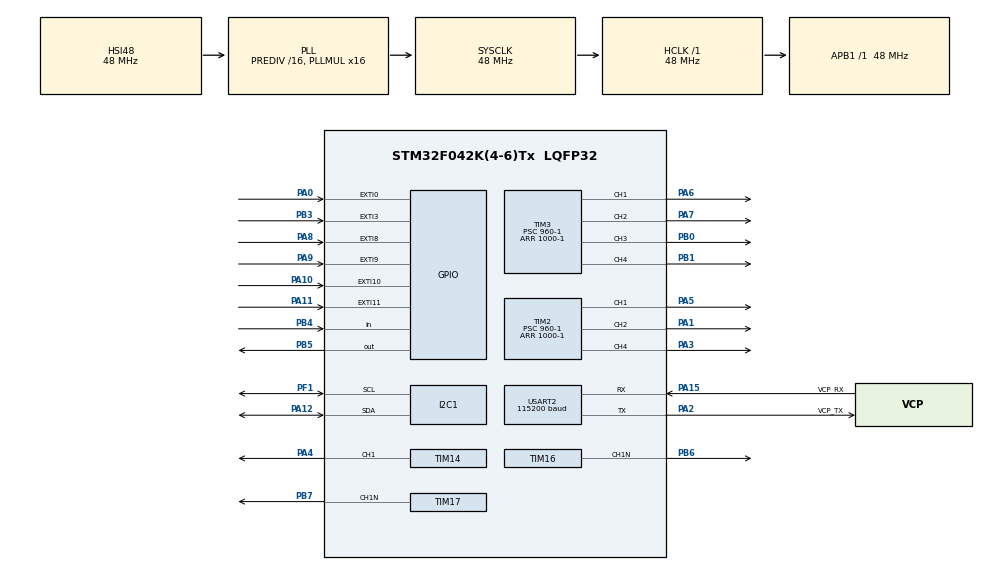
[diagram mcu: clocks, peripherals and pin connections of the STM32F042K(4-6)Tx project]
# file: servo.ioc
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Dma.Request0=USART2_RX
Dma.USART2_RX.0.Direction=DMA_PERIPH_TO_MEMORY
Dma.USART2_RX.0.Instance=DMA1_Channel5
Dma.USART2_RX.0.MemDataAlignment=DMA_MDATAALIGN_BYTE
Dma.USART2_RX.0.MemInc=DMA_MINC_ENABLE
Dma.USART2_RX.0.Mode=DMA_NORMAL
Dma.USART2_RX.0.PeriphDataAlignment=DMA_PDATAALIGN_BYTE
Dma.USART2_RX.0.PeriphInc=DMA_PINC_DISABLE
Dma.USART2_RX.0.Priority=DMA_PRIORITY_LOW
Mcu.Family=STM32F0
Mcu.Name=STM32F042K(4-6)Tx
Mcu.Package=LQFP32
NVIC.DMA1_Channel4_5_IRQn=true\:0\:0\:false\:false\:true\:false\:true
NVIC.EXTI0_1_IRQn=true\:0\:0\:false\:false\:true\:true\:true
NVIC.EXTI2_3_IRQn=true\:0\:0\:false\:false\:true\:true\:true
NVIC.EXTI4_15_IRQn=true\:0\:0\:false\:false\:true\:true\:true
NVIC.USART2_IRQn=true\:0\:0\:false\:false\:true\:true\:true
PA0.Signal=GPXTI0
PA1.Signal=S_TIM2_CH2
PA10.Signal=GPXTI10
PA11.Signal=GPXTI11
PA12.Mode=I2C
PA12.Signal=I2C1_SDA
PA13.GPIO_Label=SWDIO
PA13.Mode=Serial_Wire
PA13.Signal=SYS_SWDIO
PA14.GPIO_Label=SWCLK
PA14.Mode=Serial_Wire
PA14.Signal=SYS_SWCLK
PA15.GPIO_Label=VCP_RX
PA15.Mode=Asynchronous
PA15.Signal=USART2_RX
PA2.GPIO_Label=VCP_TX
PA2.Mode=Asynchronous
PA2.Signal=USART2_TX
PA3.Signal=S_TIM2_CH4
PA4.Signal=S_TIM14_CH1
PA5.Signal=S_TIM2_CH1_ETR
PA6.Signal=S_TIM3_CH1
PA7.Signal=S_TIM3_CH2
PA8.Signal=GPXTI8
PA9.Signal=GPXTI9
PB0.Signal=S_TIM3_CH3
PB1.Signal=S_TIM3_CH4
PB3.GPIO_ModeDefaultEXTI=GPIO_MODE_IT_FALLING
PB3.Signal=GPXTI3
PB4.Signal=GPIO_Input
PB5.Signal=GPIO_Output
PB6.Mode=PWM Generation1 CH1N
PB6.Signal=TIM16_CH1N
PB7.Mode=PWM Generation1 CH1N
PB7.Signal=TIM17_CH1N
PF0-OSC_IN.GPIO_Label=MCO
PF0-OSC_IN.Mode=HSE-External-Clock-Source
PF0-OSC_IN.Signal=RCC_OSC_IN
PF1-OSC_OUT.Mode=I2C
PF1-OSC_OUT.Signal=I2C1_SCL
ProjectManager.HeapSize=0x200
ProjectManager.StackSize=0x400
ProjectManager.TargetToolchain=MDK-ARM V5.32
RCC.AHBFreq_Value=48000000
RCC.APB1Freq_Value=48000000
RCC.APB1TimFreq_Value=48000000
RCC.HCLKFreq_Value=48000000
RCC.PLLDivider=RCC_PREDIV_DIV16
RCC.PLLMUL=RCC_PLL_MUL16
RCC.PLLSourceVirtual=RCC_PLLSOURCE_HSI48
RCC.SYSCLKFreq_VALUE=48000000
RCC.SYSCLKSource=RCC_SYSCLKSOURCE_PLLCLK
SH.S_TIM14_CH1.0=TIM14_CH1,PWM Generation1 CH1
SH.S_TIM2_CH1_ETR.0=TIM2_CH1,PWM Generation1 CH1
SH.S_TIM2_CH2.0=TIM2_CH2,PWM Generation2 CH2
SH.S_TIM2_CH4.0=TIM2_CH4,PWM Generation4 CH4
SH.S_TIM3_CH1.0=TIM3_CH1,PWM Generation1 CH1
SH.S_TIM3_CH2.0=TIM3_CH2,PWM Generation2 CH2
SH.S_TIM3_CH3.0=TIM3_CH3,PWM Generation3 CH3
SH.S_TIM3_CH4.0=TIM3_CH4,PWM Generation4 CH4
TIM14.Channel=TIM_CHANNEL_1
TIM14.Period=1000-1
TIM14.Prescaler=960-1
TIM16.Channel=TIM_CHANNEL_1
TIM16.Period=1000-1
TIM16.Prescaler=960-1
TIM17.Channel=TIM_CHANNEL_1
TIM17.Period=1000-1
TIM17.Prescaler=960-1
TIM2.Channel-PWM\ Generation1\ CH1=TIM_CHANNEL_1
TIM2.Channel-PWM\ Generation2\ CH2=TIM_CHANNEL_2
TIM2.Channel-PWM\ Generation4\ CH4=TIM_CHANNEL_4
TIM2.Period=1000-1
TIM2.Prescaler=960-1
TIM3.Channel-PWM\ Generation1\ CH1=TIM_CHANNEL_1
TIM3.Channel-PWM\ Generation2\ CH2=TIM_CHANNEL_2
TIM3.Channel-PWM\ Generation3\ CH3=TIM_CHANNEL_3
TIM3.Channel-PWM\ Generation4\ CH4=TIM_CHANNEL_4
TIM3.Period=1000-1
TIM3.Prescaler=960-1
USART2.BaudRate=115200
USART2.VirtualMode-Asynchronous=VM_ASYNC
VP_TIM14_VS_ClockSourceINT.Mode=Enable_Timer
VP_TIM16_VS_ClockSourceINT.Mode=Enable_Timer
VP_TIM17_VS_ClockSourceINT.Mode=Enable_Timer
board=NUCLEO-F042K6

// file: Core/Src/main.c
/* USER CODE BEGIN Header */
/**
  ******************************************************************************
  * @file           : main.c
  * @brief          : Main program body
  ******************************************************************************
  * @attention
  *
  * Copyright (c) 2022 STMicroelectronics.
  * All rights reserved.
  *
  * This software is licensed under terms that can be found in the LICENSE file
  * in the root directory of this software component.
  * If no LICENSE file comes with this software, it is provided AS-IS.
  *
  ******************************************************************************
  */
/* USER CODE END Header */
#include "main.h"
#include "dma.h"
#include "i2c.h"
#include "tim.h"
#include "usart.h"
#include "gpio.h"

/* USER CODE BEGIN Includes */
#include <stdio.h> //printf function
#include <string.h>
#include <stdbool.h>
#include "servo.h"
/* USER CODE END Includes */

/* USER CODE BEGIN PV */

uint32_t last_time = 0;
uint32_t sub_last_time = 0;
bool rotate_dir;

/* USER CODE END PV */

void SystemClock_Config(void);

int main(void)
{

  /* MCU Configuration--------------------------------------------------------*/

  /* Reset of all peripherals, Initializes the Flash interface and the Systick. */
  HAL_Init();

  /* Configure the system clock */
  SystemClock_Config();

  /* Initialize all configured peripherals */
  MX_GPIO_Init();
  MX_DMA_Init();
  MX_TIM2_Init();
  MX_TIM3_Init();
  MX_TIM14_Init();
  MX_TIM16_Init();
  MX_TIM17_Init();
  MX_USART2_UART_Init();
  MX_I2C1_Init();
  /* USER CODE BEGIN 2 */

	HAL_UARTEx_ReceiveToIdle_DMA(&huart2, RxBuf, RxBuf_SIZE);
	__HAL_DMA_DISABLE_IT(&hdma_usart2_rx, DMA_IT_HT);

	HAL_TIM_PWM_Start(&htim2,TIM_CHANNEL_1);
	HAL_TIM_PWM_Start(&htim2,TIM_CHANNEL_4);
	HAL_TIM_PWM_Start(&htim3,TIM_CHANNEL_1);
	HAL_TIM_PWM_Start(&htim3,TIM_CHANNEL_2);
	HAL_TIM_PWM_Start(&htim14,TIM_CHANNEL_1);

	ServoTypeDef servo;

  /* USER CODE END 2 */

  /* Infinite loop */
  /* USER CODE BEGIN WHILE */

	printf("Servo test\rtest\r\n");

  while (1)
  {
    /* USER CODE END WHILE */

    /* USER CODE BEGIN 3 */

		htim2.Instance->CCR1 = 125;

  }

  /* USER CODE END 3 */
}

void SystemClock_Config(void)
{
  RCC_OscInitTypeDef RCC_OscInitStruct = {0};
  RCC_ClkInitTypeDef RCC_ClkInitStruct = {0};
  RCC_PeriphCLKInitTypeDef PeriphClkInit = {0};

  /** Initializes the RCC Oscillators according to the specified parameters
  * in the RCC_OscInitTypeDef structure.
  */
  RCC_OscInitStruct.OscillatorType = RCC_OSCILLATORTYPE_HSI|RCC_OSCILLATORTYPE_HSI48;
  RCC_OscInitStruct.HSIState = RCC_HSI_ON;
  RCC_OscInitStruct.HSI48State = RCC_HSI48_ON;
  RCC_OscInitStruct.HSICalibrationValue = RCC_HSICALIBRATION_DEFAULT;
  RCC_OscInitStruct.PLL.PLLState = RCC_PLL_ON;
  RCC_OscInitStruct.PLL.PLLSource = RCC_PLLSOURCE_HSI48;
  RCC_OscInitStruct.PLL.PLLMUL = RCC_PLL_MUL16;
  RCC_OscInitStruct.PLL.PREDIV = RCC_PREDIV_DIV16;
  if (HAL_RCC_OscConfig(&RCC_OscInitStruct) != HAL_OK)
  {
    Error_Handler();
  }
  /** Initializes the CPU, AHB and APB buses clocks
  */
  RCC_ClkInitStruct.ClockType = RCC_CLOCKTYPE_HCLK|RCC_CLOCKTYPE_SYSCLK
                              |RCC_CLOCKTYPE_PCLK1;
  RCC_ClkInitStruct.SYSCLKSource = RCC_SYSCLKSOURCE_PLLCLK;
  RCC_ClkInitStruct.AHBCLKDivider = RCC_SYSCLK_DIV1;
  RCC_ClkInitStruct.APB1CLKDivider = RCC_HCLK_DIV1;

  if (HAL_RCC_ClockConfig(&RCC_ClkInitStruct, FLASH_LATENCY_1) != HAL_OK)
  {
    Error_Handler();
  }
  PeriphClkInit.PeriphClockSelection = RCC_PERIPHCLK_I2C1;
  PeriphClkInit.I2c1ClockSelection = RCC_I2C1CLKSOURCE_HSI;
  if (HAL_RCCEx_PeriphCLKConfig(&PeriphClkInit) != HAL_OK)
  {
    Error_Handler();
  }
}

/* USER CODE BEGIN 4 */

void HAL_GPIO_EXTI_Callback(uint16_t GPIO_Pin){
	if(GPIO_Pin == GPIO_PIN_3 && HAL_GetTick()-last_time >= 100){
		last_time = HAL_GetTick();
		if( HAL_GetTick()-sub_last_time >= 300){
			last_time = HAL_GetTick();
			sub_last_time = HAL_GetTick();
			if(HAL_GPIO_ReadPin(GPIOB,GPIO_PIN_4)==false){
					rotate_dir = true;
				}
			else if(HAL_GPIO_ReadPin(GPIOB,GPIO_PIN_4)==true){
				rotate_dir = false;
			}
		}
		printf("counter %s 1\r\n",rotate_dir?"+":"-");
	}
	if(GPIO_Pin == GPIO_PIN_0){
		printf("PA0\r\n");
	}
	if(GPIO_Pin == GPIO_PIN_8){
		printf("PA8\r\n");
	}
	if(GPIO_Pin == GPIO_PIN_9){
		printf("PA9\r\n");
	}
	if(GPIO_Pin == GPIO_PIN_10){
		printf("PA10\r\n");
	}
	if(GPIO_Pin == GPIO_PIN_11){
		printf("PA11\r\n");
	}
}

/* USER CODE END 4 */

void Error_Handler(void)
{
  __disable_irq();
  while (1)
  {
  }
}
